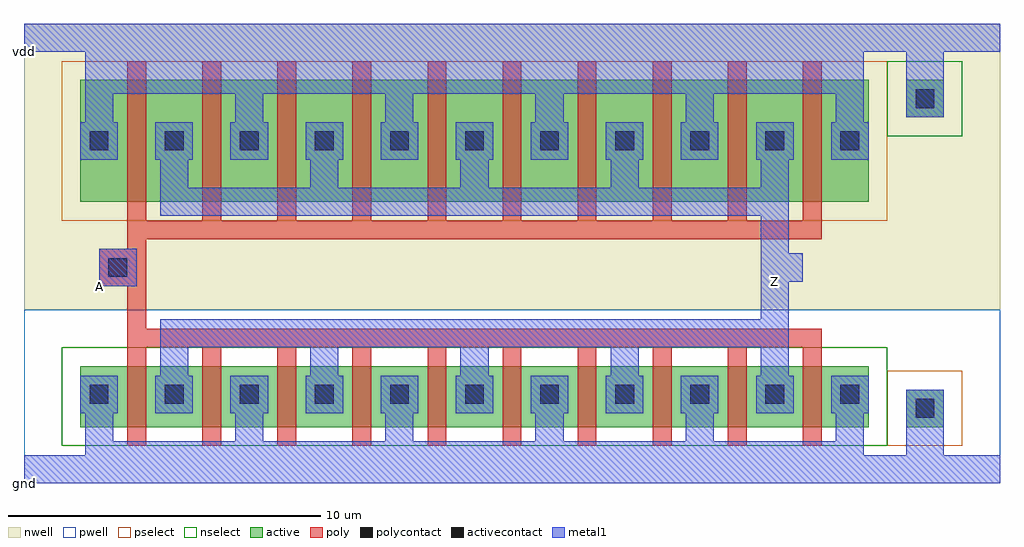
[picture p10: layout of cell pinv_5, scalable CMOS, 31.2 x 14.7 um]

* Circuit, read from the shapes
.subckt pinv_5 A Z gnd vdd
M1 Z A gnd gnd nfet w=1.95u l=0.6u m=10
M2 Z A vdd vdd pfet w=3.9u l=0.6u m=10
.ends

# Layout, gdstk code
import gdstk
lib = gdstk.Library(unit=1e-6, precision=1e-09)
def R(c, l, rs):  # rectangles x0, y0, x1, y1
    for r in rs: c.add(gdstk.rectangle(r[:2], r[2:], *l))
def A(c, l, x, y, w, h, nx, ny, dx, dy):  # array of equal rectangles
    R(c, l, [(x+i*dx, y+j*dy, x+i*dx+w, y+j*dy+h) for i in range(nx) for j in range(ny)])
pwell = (41, 0)
nwell = (42, 0)
active = (43, 0)
pselect = (44, 0)
nselect = (45, 0)
poly = (46, 0)
polycontact = (47, 0)
activecontact = (48, 0)
metal1 = (49, 0)

active_contact_metal1_1x = lib.new_cell('active_contact_metal1_1x1_pn')
R(active_contact_metal1_1x, nwell, [(-1.8,-1.8,3,3), (-1.8,-1.8,3,3)])
R(active_contact_metal1_1x, active, [(0,0,1.2,1.2), (0,0,1.2,1.2)])
R(active_contact_metal1_1x, pselect, [(-0.6,-0.6,1.8,1.8), (-0.6,-0.6,1.8,1.8)])
R(active_contact_metal1_1x, activecontact, [(0.3,0.3,0.9,0.9), (0.3,0.3,0.9,0.9)])
R(active_contact_metal1_1x, metal1, [(0,0,1.2,1.2), (0,0,1.2,1.2)])

pmos_m10_w3_9_a_p = lib.new_cell('pmos_m10_w3_9_a_p')
R(pmos_m10_w3_9_a_p, nwell, [(-1.8,-1.8,27,5.7)])
R(pmos_m10_w3_9_a_p, active, [(0,0,25.2,3.9)])
R(pmos_m10_w3_9_a_p, pselect, [(-0.6,-0.6,25.8,4.5)])
A(pmos_m10_w3_9_a_p, poly, 1.5, -0.6, 0.6, 5.1, 10, 1, 2.4, 0)
R(pmos_m10_w3_9_a_p, poly, [(1.5,-1.2,23.7,-0.6)])
A(pmos_m10_w3_9_a_p, metal1, 2.55, 0, 0.9, 1.95, 5, 1, 4.8, 0)
A(pmos_m10_w3_9_a_p, metal1, 0.15, 1.95, 0.9, 1.95, 6, 1, 4.8, 0)
R(pmos_m10_w3_9_a_p, metal1, [(2.55,-0.45,22.65,0.45), (0.15,3.45,25.05,4.35)])
pmos_m10_w3_9_a_p.add(gdstk.Reference(active_contact_metal1_1x, (0,1.35)))
pmos_m10_w3_9_a_p.add(gdstk.Reference(active_contact_metal1_1x, (4.8,1.35)))
pmos_m10_w3_9_a_p.add(gdstk.Reference(active_contact_metal1_1x, (9.6,1.35)))
pmos_m10_w3_9_a_p.add(gdstk.Reference(active_contact_metal1_1x, (14.4,1.35)))
pmos_m10_w3_9_a_p.add(gdstk.Reference(active_contact_metal1_1x, (19.2,1.35)))
pmos_m10_w3_9_a_p.add(gdstk.Reference(active_contact_metal1_1x, (24,1.35)))
pmos_m10_w3_9_a_p.add(gdstk.Reference(active_contact_metal1_1x, (2.4,1.35)))
pmos_m10_w3_9_a_p.add(gdstk.Reference(active_contact_metal1_1x, (7.2,1.35)))
pmos_m10_w3_9_a_p.add(gdstk.Reference(active_contact_metal1_1x, (12,1.35)))
pmos_m10_w3_9_a_p.add(gdstk.Reference(active_contact_metal1_1x, (16.8,1.35)))
pmos_m10_w3_9_a_p.add(gdstk.Reference(active_contact_metal1_1x, (21.6,1.35)))
pmos_m10_w3_9_a_p.add(gdstk.Label('S', (0.15,3.45), layer=49, texttype=0))
pmos_m10_w3_9_a_p.add(gdstk.Label('D', (2.55,-0.45), layer=49, texttype=0))
pmos_m10_w3_9_a_p.add(gdstk.Label('G', (1.5,-1.2), layer=46, texttype=0))

c_active_contact_metal1_1x = lib.new_cell('active_contact_metal1_1x1_np')
R(c_active_contact_metal1_1x, pwell, [(-1.8,-1.8,3,3)])
R(c_active_contact_metal1_1x, active, [(0,0,1.2,1.2)])
R(c_active_contact_metal1_1x, nselect, [(-0.6,-0.6,1.8,1.8)])
R(c_active_contact_metal1_1x, activecontact, [(0.3,0.3,0.9,0.9)])
R(c_active_contact_metal1_1x, metal1, [(0,0,1.2,1.2)])

nmos_m10_w1_95_a_p = lib.new_cell('nmos_m10_w1_95_a_p')
R(nmos_m10_w1_95_a_p, pwell, [(-1.8,-1.8,27,3.75)])
R(nmos_m10_w1_95_a_p, active, [(0,0,25.2,1.95)])
R(nmos_m10_w1_95_a_p, nselect, [(-0.6,-0.6,25.8,2.55)])
A(nmos_m10_w1_95_a_p, poly, 1.5, -0.6, 0.6, 3.15, 10, 1, 2.4, 0)
R(nmos_m10_w1_95_a_p, poly, [(1.5,2.55,23.7,3.15)])
A(nmos_m10_w1_95_a_p, metal1, 0.15, -0.9, 0.9, 1.95, 6, 1, 4.8, 0)
A(nmos_m10_w1_95_a_p, metal1, 2.55, 1.05, 0.9, 1.95, 5, 1, 4.8, 0)
R(nmos_m10_w1_95_a_p, metal1, [(0.15,-1.35,25.05,-0.45), (2.55,2.55,22.65,3.45)])
nmos_m10_w1_95_a_p.add(gdstk.Reference(c_active_contact_metal1_1x, (0,0.45)))
nmos_m10_w1_95_a_p.add(gdstk.Reference(c_active_contact_metal1_1x, (4.8,0.45)))
nmos_m10_w1_95_a_p.add(gdstk.Reference(c_active_contact_metal1_1x, (9.6,0.45)))
nmos_m10_w1_95_a_p.add(gdstk.Reference(c_active_contact_metal1_1x, (14.4,0.45)))
nmos_m10_w1_95_a_p.add(gdstk.Reference(c_active_contact_metal1_1x, (19.2,0.45)))
nmos_m10_w1_95_a_p.add(gdstk.Reference(c_active_contact_metal1_1x, (24,0.45)))
nmos_m10_w1_95_a_p.add(gdstk.Reference(c_active_contact_metal1_1x, (2.4,0.45)))
nmos_m10_w1_95_a_p.add(gdstk.Reference(c_active_contact_metal1_1x, (7.2,0.45)))
nmos_m10_w1_95_a_p.add(gdstk.Reference(c_active_contact_metal1_1x, (12,0.45)))
nmos_m10_w1_95_a_p.add(gdstk.Reference(c_active_contact_metal1_1x, (16.8,0.45)))
nmos_m10_w1_95_a_p.add(gdstk.Reference(c_active_contact_metal1_1x, (21.6,0.45)))
nmos_m10_w1_95_a_p.add(gdstk.Label('S', (0.15,-1.35), layer=49, texttype=0))
nmos_m10_w1_95_a_p.add(gdstk.Label('D', (2.55,2.55), layer=49, texttype=0))
nmos_m10_w1_95_a_p.add(gdstk.Label('G', (1.5,2.55), layer=46, texttype=0))

c_active_contact_metal1_1x_ = lib.new_cell('active_contact_metal1_1x1_nn')
R(c_active_contact_metal1_1x_, nwell, [(-1.8,-1.8,3,3), (-1.8,-1.8,3,3)])
R(c_active_contact_metal1_1x_, active, [(0,0,1.2,1.2), (0,0,1.2,1.2)])
R(c_active_contact_metal1_1x_, nselect, [(-0.6,-0.6,1.8,1.8), (-0.6,-0.6,1.8,1.8)])
R(c_active_contact_metal1_1x_, activecontact, [(0.3,0.3,0.9,0.9), (0.3,0.3,0.9,0.9)])
R(c_active_contact_metal1_1x_, metal1, [(0,0,1.2,1.2), (0,0,1.2,1.2)])

c_active_contact_metal1_1x__ = lib.new_cell('active_contact_metal1_1x1_pp')
R(c_active_contact_metal1_1x__, pwell, [(-1.8,-1.8,3,3)])
R(c_active_contact_metal1_1x__, active, [(0,0,1.2,1.2)])
R(c_active_contact_metal1_1x__, pselect, [(-0.6,-0.6,1.8,1.8)])
R(c_active_contact_metal1_1x__, activecontact, [(0.3,0.3,0.9,0.9)])
R(c_active_contact_metal1_1x__, metal1, [(0,0,1.2,1.2)])

poly_contact_metal1_1x1 = lib.new_cell('poly_contact_metal1_1x1')
R(poly_contact_metal1_1x1, poly, [(0,0,1.2,1.2), (0,0,1.2,1.2)])
R(poly_contact_metal1_1x1, polycontact, [(0.3,0.3,0.9,0.9), (0.3,0.3,0.9,0.9)])
R(poly_contact_metal1_1x1, metal1, [(0,0,1.2,1.2), (0,0,1.2,1.2)])

pinv_5 = lib.new_cell('pinv_5')
R(pinv_5, pwell, [(0,-0.45,31.2,5.1)])
R(pinv_5, nwell, [(0,5.1,31.2,14.25)])
R(pinv_5, poly, [(3.3,3.9,3.9,7.35), (3,5.85,3.3,7.05)])
R(pinv_5, metal1, [(0,-0.45,31.2,0.45), (28.2,0,29.4,1.95), (23.55,3.9,24.45,8.1), (2.4,5.85,3.6,7.05), (24,6,24.9,6.9), (28.2,11.85,29.4,13.8), (1.95,12,26.85,14.25), (0,13.35,31.2,14.25)])
pinv_5.add(gdstk.Reference(pmos_m10_w3_9_a_p, (1.8,8.55)))
pinv_5.add(gdstk.Reference(nmos_m10_w1_95_a_p, (1.8,1.35)))
pinv_5.add(gdstk.Reference(c_active_contact_metal1_1x_, (28.2,11.25)))
pinv_5.add(gdstk.Reference(c_active_contact_metal1_1x__, (28.2,1.35)))
pinv_5.add(gdstk.Reference(poly_contact_metal1_1x1, (2.4,5.85)))
pinv_5.add(gdstk.Label('A', (2.4,5.85), layer=49, texttype=0))
pinv_5.add(gdstk.Label('Z', (24,6), layer=49, texttype=0))
pinv_5.add(gdstk.Label('vdd', (0,13.35), layer=49, texttype=0))
pinv_5.add(gdstk.Label('gnd', (0,-0.45), layer=49, texttype=0))

lib.write_gds('pinv_5.gds')
